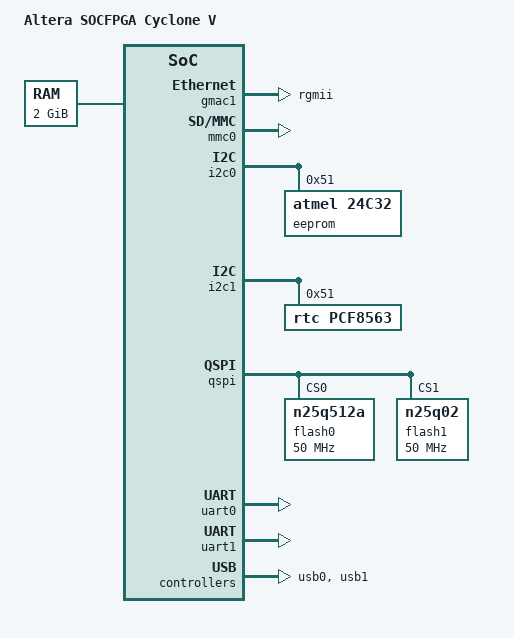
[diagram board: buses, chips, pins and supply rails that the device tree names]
/*
 * Copyright Altera Corporation (C) 2012,2014. All rights reserved.
 *
 * This program is free software; you can redistribute it and/or modify
 * it under the terms and conditions of the GNU General Public License,
 * version 2, as published by the Free Software Foundation.
 *
 * This program is distributed in the hope it will be useful, but WITHOUT
 * ANY WARRANTY; without even the implied warranty of MERCHANTABILITY or
 * FITNESS FOR A PARTICULAR PURPOSE.  See the GNU General Public License for
 * more details.
 *
 * You should have received a copy of the GNU General Public License along with
 * this program.  If not, see <http://www.gnu.org/licenses/>.
 */

#include "socfpga_cyclone5.dtsi"

/ {
	model = "Altera SOCFPGA Cyclone V";	
	compatible = "altr,socfpga-cyclone5", "altr,socfpga";

    chosen {
        bootargs = "earlyprintk";
        stdout-path = "serial0:115200n8";
    }; 

	memory {
        name = "memory";
        device_type = "memory";
        reg = <0x00000000 0x80000000>;
	}; //end memory

	aliases {
		ethernet0 = &gmac1;
	}; //end aliases

    soc {
        u-boot,dm-pre-reloc;
    };
};

&gmac1 {
    status = "okay";
    phy-mode = "rgmii";
    snps,phy-addr = < 0xFFFFFFFF >;
    phy-addr = < 0xFFFFFFFF >;

    rxd0-skew-ps = <0>;
    rxd1-skew-ps = <0>;
    rxd2-skew-ps = <0>;
    rxd3-skew-ps = <0>;
    txd0-skew-ps = <0>;
    txd1-skew-ps = <0>;
    txd2-skew-ps = <0>;
    txd3-skew-ps = <0>;
    txen-skew-ps = <0>;
    txc-skew-ps = <3000>;
    rxdv-skew-ps = <0>;
    rxc-skew-ps = <3000>;
    max-frame-size = <3800>;
    tx-fifo-depth = <4096>; /* embeddedsw.dts.params.tx-fifo-depth type NUMBER */
    rx-fifo-depth = <4096>; /* embeddedsw.dts.params.rx-fifo-depth type NUMBER */
};

&mmc0 {
    status = "okay";
};

&i2c0 {
    status = "okay";
    speed-mode = <0>;

    eeprom@51 {
        compatible = "atmel,24c32";
        reg = <0x51>;
        pagesize = <32>;
    };
};

&i2c1 {
    status = "okay";
    speed-mode = <0>;

    rtc@51 {
        compatible = "rtc,pcf8563";
        reg = <0x51>;
    };
};

&qspi {
    compatible = "cadence,qspi";
    u-boot,dm-pre-reloc;
    status = "okay";
    flash0: n25q512a@0 {
        u-boot,dm-pre-reloc;
        #address-cells = <1>;
        #size-cells = <1>;
        compatible = "n25q512a", "spi-flash";
        reg = <0>;	/* appended from boardinfo */
        spi-max-frequency = <50000000>;

        cdns,page-size = <256>;
        cdns,block-size = <16>;
        cdns,read-delay = <4>;
        cdns,tshsl-ns = <50>;
        cdns,tsd2d-ns = <50>;
        cdns,tchsh-ns = <4>;
        cdns,tslch-ns = <4>;
        cdns,is-decoded-cs = <0>;
        cdns,trigger-address = <0x00000000>;
        /* u-boot version of cadence_qspi currently doesn't expect the "cdns," prefix */
        page-size = <256>;
        block-size = <16>;
        read-delay = <4>;
        tshsl-ns = <50>;
        tsd2d-ns = <50>;
        tchsh-ns = <4>;
        tslch-ns = <4>;
        is-decoded-cs = <0>;
	}; //end n25q512a@0 (flash0)

	flash1: n25q02@1 {
        #address-cells = <1>;
        #size-cells = <1>;
        compatible = "n25q02", "spi-flash";
        reg = <1>;	/* Chip Select */
        spi-max-frequency = <50000000>;
        cdns,page-size = <256>;
        cdns,block-size = <16>;
        cdns,read-delay = <4>;
        cdns,tshsl-ns = <50>;
        cdns,tsd2d-ns = <50>;
        cdns,tchsh-ns = <4>;
        cdns,tslch-ns = <4>;
    }; //end n25q02@1 (flash1)
}; //end flash@0xff705000 (hps_0_qspi)

&uart0 {
    status = "okay";
};

&uart1 {
    status = "okay";
};

&usb0 {
    status = "okay";
};

&usb1 {
    status = "okay";
};

&gpio0 {
    status = "okay";
};

